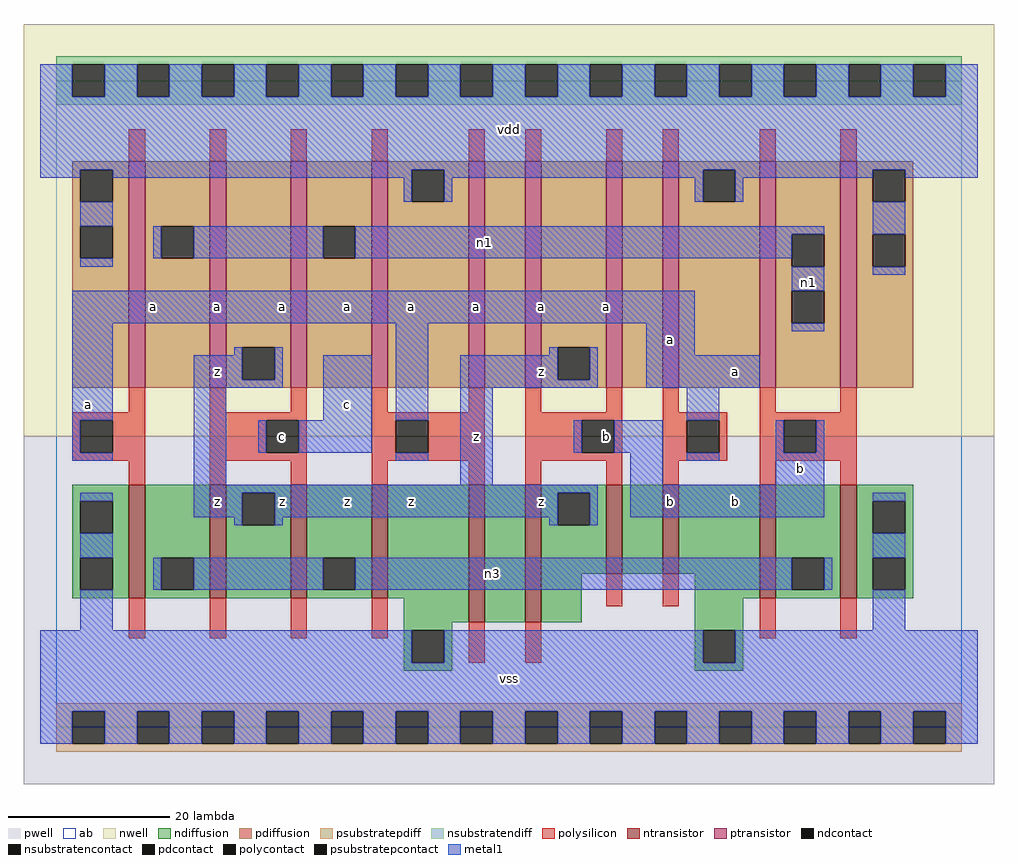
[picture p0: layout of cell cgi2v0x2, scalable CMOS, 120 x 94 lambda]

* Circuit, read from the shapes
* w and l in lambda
.subckt cgi2v0x2 a b c n1 n3 vdd vss z
M1 n3 a vss vss nfet w=14 l=2 m=2
M2 z c n3 vss nfet w=14 l=2 m=2
M3 n2 a vss vss nfet w=17 l=2
M4 z b n2 vss nfet w=17 l=2
M5 n4 b z vss nfet w=11 l=2
M6 vss a n4 vss nfet w=11 l=2
M7 n3 b vss vss nfet w=14 l=2 m=2
M8 n1 a vdd vdd pfet w=28 l=2 m=2
M9 z c n1 vdd pfet w=28 l=2 m=2
M10 n5 a vdd vdd pfet w=28 l=2
M11 z b n5 vdd pfet w=28 l=2
M12 n6 b z vdd pfet w=28 l=2
M13 vdd a n6 vdd pfet w=28 l=2
M14 n1 b vdd vdd pfet w=28 l=2 m=2
.ends

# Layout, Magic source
magic
tech scmos
<< ab >>
rect 0 0 112 80
<< pwell >>
rect -4 -7 116 36
<< nwell >>
rect -4 36 116 87
<< polysilicon >>
rect 9 70 11 74
rect 19 70 21 74
rect 29 70 31 74
rect 39 70 41 74
rect 51 70 53 74
rect 58 70 60 74
rect 68 70 70 74
rect 75 70 77 74
rect 87 70 89 74
rect 97 70 99 74
rect 9 39 11 42
rect 2 38 11 39
rect 2 34 3 38
rect 7 34 11 38
rect 2 33 11 34
rect 9 30 11 33
rect 19 39 21 42
rect 29 39 31 42
rect 19 38 31 39
rect 19 34 26 38
rect 30 34 31 38
rect 19 33 31 34
rect 19 30 21 33
rect 29 30 31 33
rect 39 39 41 42
rect 51 39 53 42
rect 39 38 53 39
rect 39 34 42 38
rect 46 34 53 38
rect 39 33 53 34
rect 39 30 41 33
rect 51 30 53 33
rect 58 39 60 42
rect 68 39 70 42
rect 58 38 70 39
rect 58 34 65 38
rect 69 34 70 38
rect 58 33 70 34
rect 58 30 60 33
rect 68 30 70 33
rect 75 39 77 42
rect 87 39 89 42
rect 97 39 99 42
rect 75 38 83 39
rect 75 34 78 38
rect 82 34 83 38
rect 75 33 83 34
rect 87 38 99 39
rect 87 34 90 38
rect 94 34 99 38
rect 87 33 99 34
rect 75 30 77 33
rect 87 30 89 33
rect 97 30 99 33
rect 9 11 11 16
rect 19 11 21 16
rect 29 11 31 16
rect 39 11 41 16
rect 68 15 70 19
rect 75 15 77 19
rect 51 8 53 13
rect 58 8 60 13
rect 87 11 89 16
rect 97 11 99 16
<< ndiffusion >>
rect 2 28 9 30
rect 2 24 3 28
rect 7 24 9 28
rect 2 21 9 24
rect 2 17 3 21
rect 7 17 9 21
rect 2 16 9 17
rect 11 21 19 30
rect 11 17 13 21
rect 17 17 19 21
rect 11 16 19 17
rect 21 29 29 30
rect 21 25 23 29
rect 27 25 29 29
rect 21 16 29 25
rect 31 21 39 30
rect 31 17 33 21
rect 37 17 39 21
rect 31 16 39 17
rect 41 16 51 30
rect 43 13 51 16
rect 53 13 58 30
rect 60 29 68 30
rect 60 25 62 29
rect 66 25 68 29
rect 60 19 68 25
rect 70 19 75 30
rect 77 19 87 30
rect 60 13 65 19
rect 79 16 87 19
rect 89 21 97 30
rect 89 17 91 21
rect 95 17 97 21
rect 89 16 97 17
rect 99 28 106 30
rect 99 24 101 28
rect 105 24 106 28
rect 99 21 106 24
rect 99 17 101 21
rect 105 17 106 21
rect 99 16 106 17
rect 43 12 49 13
rect 43 8 44 12
rect 48 8 49 12
rect 79 12 85 16
rect 79 8 80 12
rect 84 8 85 12
rect 43 7 49 8
rect 79 7 85 8
<< pdiffusion >>
rect 2 69 9 70
rect 2 65 3 69
rect 7 65 9 69
rect 2 62 9 65
rect 2 58 3 62
rect 7 58 9 62
rect 2 42 9 58
rect 11 62 19 70
rect 11 58 13 62
rect 17 58 19 62
rect 11 42 19 58
rect 21 47 29 70
rect 21 43 23 47
rect 27 43 29 47
rect 21 42 29 43
rect 31 62 39 70
rect 31 58 33 62
rect 37 58 39 62
rect 31 42 39 58
rect 41 69 51 70
rect 41 65 44 69
rect 48 65 51 69
rect 41 42 51 65
rect 53 42 58 70
rect 60 47 68 70
rect 60 43 62 47
rect 66 43 68 47
rect 60 42 68 43
rect 70 42 75 70
rect 77 69 87 70
rect 77 65 80 69
rect 84 65 87 69
rect 77 42 87 65
rect 89 61 97 70
rect 89 57 91 61
rect 95 57 97 61
rect 89 54 97 57
rect 89 50 91 54
rect 95 50 97 54
rect 89 42 97 50
rect 99 69 106 70
rect 99 65 101 69
rect 105 65 106 69
rect 99 61 106 65
rect 99 57 101 61
rect 105 57 106 61
rect 99 42 106 57
<< metal1 >>
rect -2 78 2 82
rect 6 78 10 82
rect 14 78 18 82
rect 22 78 26 82
rect 30 78 34 82
rect 38 78 42 82
rect 46 78 50 82
rect 54 78 58 82
rect 62 78 66 82
rect 70 78 74 82
rect 78 78 82 82
rect 86 78 90 82
rect 94 78 98 82
rect 102 78 106 82
rect 110 78 114 82
rect -2 69 114 78
rect -2 68 3 69
rect 7 68 44 69
rect 43 65 44 68
rect 48 68 80 69
rect 48 65 49 68
rect 79 65 80 68
rect 84 68 101 69
rect 84 65 85 68
rect 105 68 114 69
rect 3 62 7 65
rect 12 58 13 62
rect 17 58 33 62
rect 37 61 95 62
rect 37 58 91 61
rect 3 57 7 58
rect 91 54 95 57
rect 101 61 105 65
rect 101 56 105 57
rect 2 50 79 54
rect 2 38 7 50
rect 22 46 23 47
rect 2 34 3 38
rect 2 33 7 34
rect 17 43 23 46
rect 27 43 28 47
rect 17 42 28 43
rect 17 30 21 42
rect 33 38 39 46
rect 25 34 26 38
rect 30 34 39 38
rect 42 38 46 50
rect 61 46 62 47
rect 42 33 46 34
rect 50 43 62 46
rect 66 43 67 47
rect 50 42 67 43
rect 73 46 79 50
rect 91 49 95 50
rect 73 42 87 46
rect 50 30 54 42
rect 78 38 82 42
rect 64 34 65 38
rect 69 34 75 38
rect 71 30 75 34
rect 78 33 82 34
rect 89 34 90 38
rect 94 34 95 38
rect 89 30 95 34
rect 17 29 67 30
rect 3 28 7 29
rect 17 26 23 29
rect 22 25 23 26
rect 27 26 62 29
rect 27 25 28 26
rect 61 25 62 26
rect 66 25 67 29
rect 71 26 95 30
rect 101 28 105 29
rect 3 21 7 24
rect 101 21 105 24
rect 12 17 13 21
rect 17 17 33 21
rect 37 17 91 21
rect 95 17 96 21
rect 3 12 7 17
rect 101 12 105 17
rect -2 8 44 12
rect 48 8 80 12
rect 84 8 114 12
rect -2 2 114 8
rect -2 -2 2 2
rect 6 -2 10 2
rect 14 -2 18 2
rect 22 -2 26 2
rect 30 -2 34 2
rect 38 -2 42 2
rect 46 -2 50 2
rect 54 -2 58 2
rect 62 -2 66 2
rect 70 -2 74 2
rect 78 -2 82 2
rect 86 -2 90 2
rect 94 -2 98 2
rect 102 -2 106 2
rect 110 -2 114 2
<< ntransistor >>
rect 9 16 11 30
rect 19 16 21 30
rect 29 16 31 30
rect 39 16 41 30
rect 51 13 53 30
rect 58 13 60 30
rect 68 19 70 30
rect 75 19 77 30
rect 87 16 89 30
rect 97 16 99 30
<< ptransistor >>
rect 9 42 11 70
rect 19 42 21 70
rect 29 42 31 70
rect 39 42 41 70
rect 51 42 53 70
rect 58 42 60 70
rect 68 42 70 70
rect 75 42 77 70
rect 87 42 89 70
rect 97 42 99 70
<< polycontact >>
rect 3 34 7 38
rect 26 34 30 38
rect 42 34 46 38
rect 65 34 69 38
rect 78 34 82 38
rect 90 34 94 38
<< ndcontact >>
rect 3 24 7 28
rect 3 17 7 21
rect 13 17 17 21
rect 23 25 27 29
rect 33 17 37 21
rect 62 25 66 29
rect 91 17 95 21
rect 101 24 105 28
rect 101 17 105 21
rect 44 8 48 12
rect 80 8 84 12
<< pdcontact >>
rect 3 65 7 69
rect 3 58 7 62
rect 13 58 17 62
rect 23 43 27 47
rect 33 58 37 62
rect 44 65 48 69
rect 62 43 66 47
rect 80 65 84 69
rect 91 57 95 61
rect 91 50 95 54
rect 101 65 105 69
rect 101 57 105 61
<< psubstratepcontact >>
rect 2 -2 6 2
rect 10 -2 14 2
rect 18 -2 22 2
rect 26 -2 30 2
rect 34 -2 38 2
rect 42 -2 46 2
rect 50 -2 54 2
rect 58 -2 62 2
rect 66 -2 70 2
rect 74 -2 78 2
rect 82 -2 86 2
rect 90 -2 94 2
rect 98 -2 102 2
rect 106 -2 110 2
<< nsubstratencontact >>
rect 2 78 6 82
rect 10 78 14 82
rect 18 78 22 82
rect 26 78 30 82
rect 34 78 38 82
rect 42 78 46 82
rect 50 78 54 82
rect 58 78 62 82
rect 66 78 70 82
rect 74 78 78 82
rect 82 78 86 82
rect 90 78 94 82
rect 98 78 102 82
rect 106 78 110 82
<< psubstratepdiff >>
rect 0 2 112 3
rect 0 -2 2 2
rect 6 -2 10 2
rect 14 -2 18 2
rect 22 -2 26 2
rect 30 -2 34 2
rect 38 -2 42 2
rect 46 -2 50 2
rect 54 -2 58 2
rect 62 -2 66 2
rect 70 -2 74 2
rect 78 -2 82 2
rect 86 -2 90 2
rect 94 -2 98 2
rect 102 -2 106 2
rect 110 -2 112 2
rect 0 -3 112 -2
<< nsubstratendiff >>
rect 0 82 112 83
rect 0 78 2 82
rect 6 78 10 82
rect 14 78 18 82
rect 22 78 26 82
rect 30 78 34 82
rect 38 78 42 82
rect 46 78 50 82
rect 54 78 58 82
rect 62 78 66 82
rect 70 78 74 82
rect 78 78 82 82
rect 86 78 90 82
rect 94 78 98 82
rect 102 78 106 82
rect 110 78 112 82
rect 0 77 112 78
<< labels >>
rlabel metal1 4 40 4 40 6 a
rlabel metal1 12 52 12 52 6 a
rlabel metal1 20 28 20 28 6 z
rlabel metal1 36 28 36 28 6 z
rlabel metal1 28 28 28 28 6 z
rlabel metal1 20 44 20 44 6 z
rlabel metal1 36 40 36 40 6 c
rlabel polycontact 28 36 28 36 6 c
rlabel metal1 36 52 36 52 6 a
rlabel metal1 28 52 28 52 6 a
rlabel metal1 20 52 20 52 6 a
rlabel metal1 56 6 56 6 6 vss
rlabel metal1 44 28 44 28 6 z
rlabel metal1 60 28 60 28 6 z
rlabel metal1 60 44 60 44 6 z
rlabel metal1 52 36 52 36 6 z
rlabel metal1 60 52 60 52 6 a
rlabel metal1 52 52 52 52 6 a
rlabel metal1 44 52 44 52 6 a
rlabel metal1 56 74 56 74 6 vdd
rlabel metal1 84 28 84 28 6 b
rlabel metal1 76 28 76 28 6 b
rlabel polycontact 68 36 68 36 6 b
rlabel metal1 84 44 84 44 6 a
rlabel metal1 76 48 76 48 6 a
rlabel metal1 68 52 68 52 6 a
rlabel metal1 54 19 54 19 6 n3
rlabel metal1 92 32 92 32 6 b
rlabel metal1 93 55 93 55 6 n1
rlabel metal1 53 60 53 60 6 n1
<< end >>
